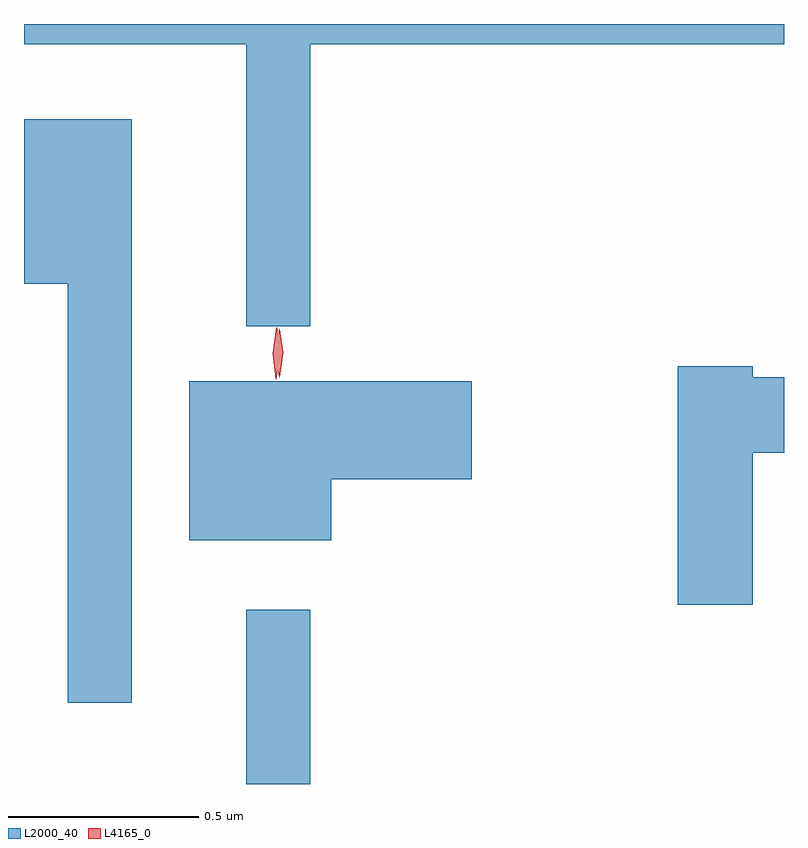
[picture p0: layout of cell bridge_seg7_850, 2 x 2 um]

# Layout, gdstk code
import gdstk
lib = gdstk.Library(unit=1e-6, precision=1e-09)
def R(c, l, rs):  # rectangles x0, y0, x1, y1
    for r in rs: c.add(gdstk.rectangle(r[:2], r[2:], *l))
def P(c, l, *ps):  # polygons
    for p in ps: c.add(gdstk.Polygon(p, *l))
L2000_40 = (2000, 40)
L4165_0 = (4165, 0)

bridge_seg7_850 = lib.new_cell('bridge_seg7_850')
R(bridge_seg7_850, L2000_40, [(283.351,1739.009,283.519,1739.468)])
P(bridge_seg7_850, L2000_40, [(282.766,1740.956),(283.351,1740.956),(283.351,1740.213),(283.519,1740.213),(283.519,1740.956),(284.766,1740.956),(284.766,1741.009),(282.766,1741.009)],
  [(283.049,1740.759),(282.766,1740.759),(282.766,1740.326),(282.881,1740.326),(282.881,1739.223),(283.049,1739.223)],
  [(284.684,1739.881),(284.766,1739.881),(284.766,1740.079),(284.684,1740.079),(284.684,1740.109),(284.486,1740.109),(284.486,1739.481),(284.684,1739.481)],
  [(283.574,1739.811),(283.944,1739.811),(283.944,1740.069),(283.201,1740.069),(283.201,1739.651),(283.574,1739.651)])
P(bridge_seg7_850, L4165_0, [(283.429,1740.074),(283.42,1740.142),(283.43,1740.21),(283.431,1740.21),(283.432,1740.21),(283.44,1740.142),(283.43,1740.074),(283.43,1740.074)],
  [(283.438,1740.08),(283.438,1740.08),(283.428,1740.144),(283.438,1740.206),(283.438,1740.207),(283.439,1740.206),(283.448,1740.144),(283.439,1740.08)])

lib.write_gds('bridge_seg7_850.gds')
